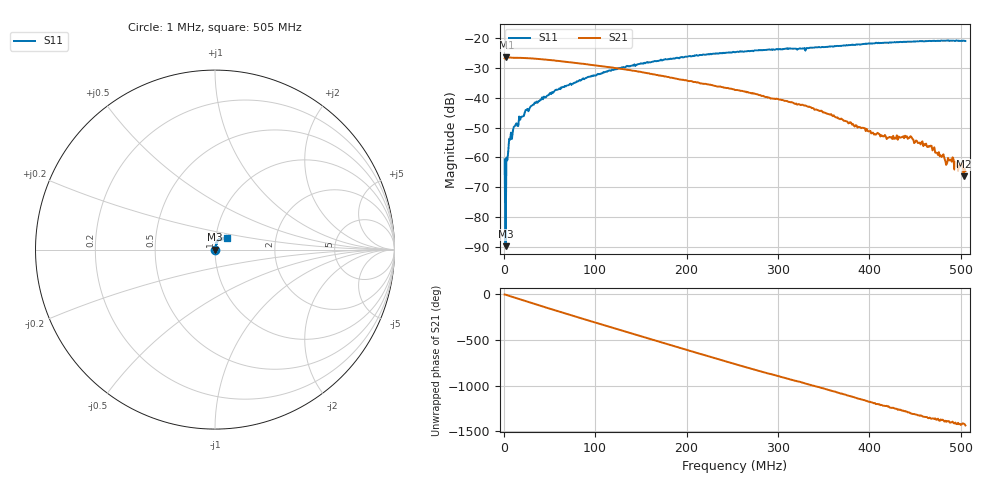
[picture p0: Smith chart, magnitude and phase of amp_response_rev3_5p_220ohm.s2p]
# HZ S RI R 50
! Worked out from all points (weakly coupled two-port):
!   505 points, 1 MHz to 505 MHz, reference 50 ohm
!   highest |S21| = -26.39 dB at 3 MHz (marker M1); lowest = -66.4 dB at 503 MHz (marker M2)
!   lowest |S11| = -89.9 dB at 2 MHz (marker M3), VSWR 1.00, Z = 50 - j0.000754 ohm
!   |S11| at or under -10 dB: start of sweep to end of sweep
!   S12 and S22 are empty: the file has one direction only
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1000000  -0.000909 -0.000156  0.0462 -0.00373  0 0  0 0
2000000  -3.12e-05 -7.54e-06  0.0476 -0.00508  0 0  0 0
3000000  -0.000474 0.000874  0.0472 -0.00794  0 0  0 0
4000000  -0.000153 0.000878  0.0467 -0.0107  0 0  0 0
5000000  -0.000222 0.00124  0.0459 -0.0132  0 0  0 0
8000000  0.000363 0.00259  0.0426 -0.0204  0 0  0 0
1.2e7  0.000657 0.00326  0.0371 -0.029  0 0  0 0
2.4e7  0.000611 0.00621  0.0112 -0.0451  0 0  0 0
5.7e7  0.0029 0.0133  -0.0421 -0.000118  0 0  0 0
8.5e7  0.0051 0.0193  -0.00286 0.0374  0 0  0 0
1.69e8  0.00994 0.0403  -0.0221 -0.00915  0 0  0 0
2.53e8  0.019 0.055  0.00956 -0.00959  0 0  0 0
3.37e8  0.0355 0.0598  0.000863 0.00665  0 0  0 0
4.21e8  0.0557 0.0624  -0.00181 -0.00115  0 0  0 0
4.46e8  0.0599 0.0638  -0.00152 0.00157  0 0  0 0
4.69e8  0.0634 0.0647  0.000207 0.00129  0 0  0 0
4.84e8  0.0648 0.0643  0.000541 0.000516  0 0  0 0
4.9e8  0.0649 0.0638  0.000659 0.000529  0 0  0 0
4.95e8  0.0657 0.0643  0.000673 0.000234  0 0  0 0
5e8  0.0651 0.0625  0.000753 0.000118  0 0  0 0
5.03e8  0.0659 0.0632  0.000445 0.000183  0 0  0 0
5.05e8  0.0654 0.0622  0.000584 3.57e-05  0 0  0 0
